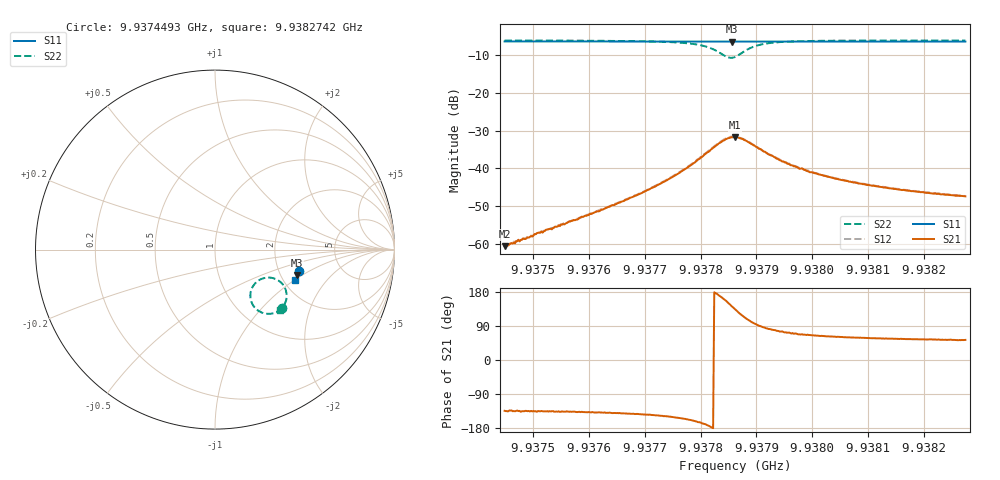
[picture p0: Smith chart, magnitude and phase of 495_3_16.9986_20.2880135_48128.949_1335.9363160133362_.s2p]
#  HZ  S  RI  R  50.00
! Rohde & Schwarz Vector Network Analyzer
! Rohde-Schwarz,ZNB20-2Port,1311601062101988,3.16
! Created: UTC 3/20/2024, 11:14:16 PM
! freq[Hz]  re:S11  im:S11  re:S21  im:S21  re:S12  im:S12  re:S22  im:S22
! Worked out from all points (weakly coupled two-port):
!   401 points, 9.9374493 GHz to 9.9382742 GHz, reference 50 ohm
!   highest |S21| = -31.76 dB at 9.9378618 GHz (marker M1); lowest = -60.7 dB at 9.9374493 GHz (marker M2)
!   lowest |S11| = -6.4 dB at 9.9378556 GHz (marker M3), VSWR 2.83, Z = 122 - j45.3 ohm
!   |S11| at or under -10 dB: nowhere
!   |S22| runs from -10.7 to -6.1 dB; largest |S21 - S12| = 0.0011
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9.93744927e9  0.4683 -0.1182  -0.000642 -0.000664  -0.000666 -0.000658  0.3743 -0.3269
9.93748846e9  0.4673 -0.1209  -0.000818 -0.000836  -0.000858 -0.000838  0.3706 -0.33
9.93758745e9  0.465 -0.1276  -0.00166 -0.00156  -0.00168 -0.00149  0.3585 -0.3389
9.93765964e9  0.4635 -0.1324  -0.0028 -0.0023  -0.00287 -0.00226  0.3448 -0.3469
9.93772564e9  0.4616 -0.137  -0.0051 -0.00338  -0.00523 -0.00334  0.322 -0.3554
9.93777307e9  0.4601 -0.1402  -0.00892 -0.00407  -0.00918 -0.00396  0.2881 -0.3575
9.93781019e9  0.4584 -0.1425  -0.0155 -0.00254  -0.0159 -0.0021  0.2364 -0.3372
9.93782463e9  0.4574 -0.1432  -0.0191 0.000454  -0.0196 0.000849  0.2112 -0.3091
9.93783701e9  0.4567 -0.1434  -0.0216 0.00512  -0.022 0.00593  0.1973 -0.2671
9.93784732e9  0.4563 -0.1436  -0.0221 0.0109  -0.0223 0.0117  0.203 -0.2225
9.93785557e9  0.4562 -0.1434  -0.0203 0.0158  -0.0204 0.0166  0.2237 -0.1883
9.93786175e9  0.4563 -0.1435  -0.018 0.0185  -0.0176 0.0194  0.2476 -0.1691
9.93787207e9  0.4565 -0.1435  -0.0126 0.0215  -0.0121 0.0221  0.2934 -0.1557
9.9378865e9  0.4571 -0.1443  -0.00567 0.0213  -0.00505 0.0217  0.3471 -0.1684
9.93791125e9  0.4571 -0.1463  0.000959 0.0171  0.00122 0.0171  0.3894 -0.213
9.93793806e9  0.457 -0.1485  0.00303 0.013  0.00336 0.013  0.3991 -0.2496
9.93795869e9  0.4567 -0.1501  0.00346 0.0108  0.00401 0.0109  0.3988 -0.2683
9.93799993e9  0.4557 -0.153  0.00367 0.00802  0.0039 0.00803  0.3938 -0.2916
9.93806181e9  0.4539 -0.1573  0.00338 0.00586  0.00353 0.00588  0.3849 -0.3102
9.93813812e9  0.452 -0.1623  0.003 0.00451  0.00314 0.0045  0.3764 -0.3237
9.93820617e9  0.45 -0.1668  0.00276 0.00382  0.00289 0.00382  0.3702 -0.332
9.93827423e9  0.4481 -0.1711  0.00254 0.00338  0.00268 0.00335  0.3642 -0.3384
